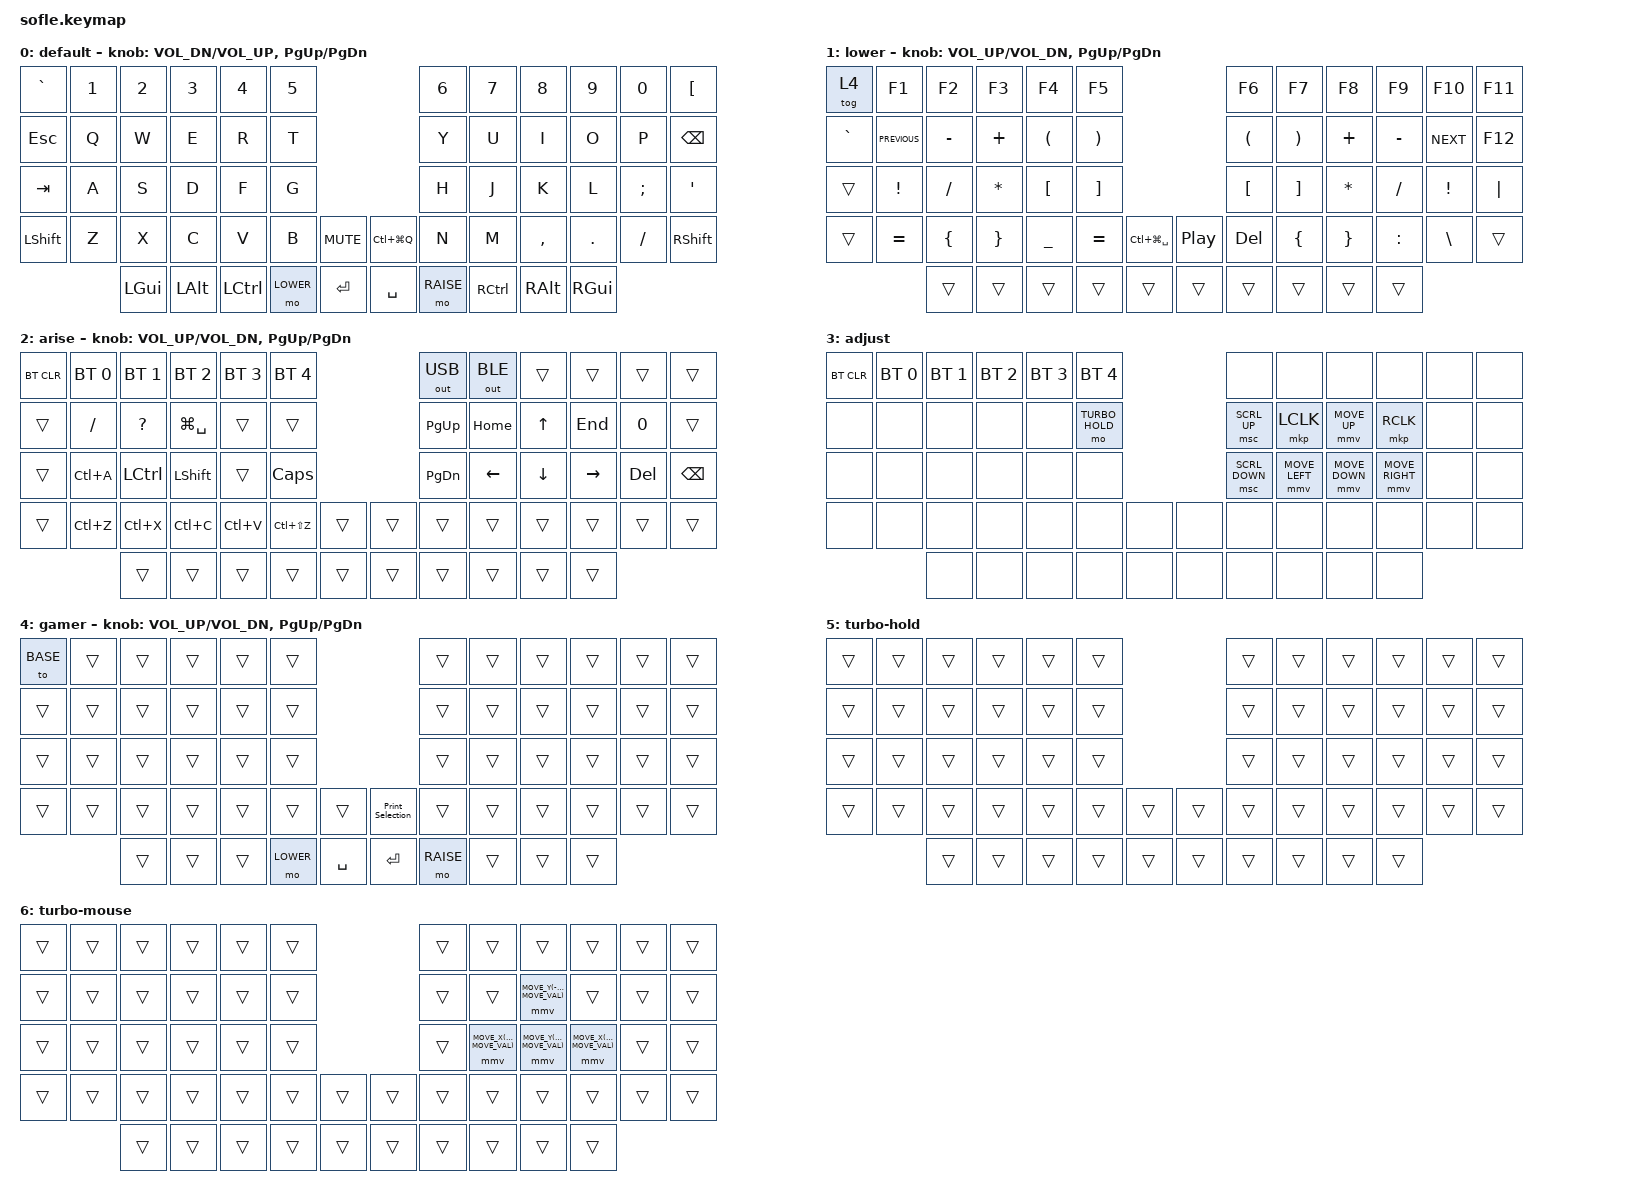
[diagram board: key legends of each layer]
/*
 * Copyright (c) 2020 The ZMK Contributors
 *
 * SPDX-License-Identifier: MIT
 */

#include <behaviors.dtsi>
#include <dt-bindings/zmk/bt.h>
#include <dt-bindings/zmk/keys.h>
#include <dt-bindings/zmk/outputs.h>

// Velocidade do mouse na camada ADJUST (padrão ZMK é 600) — aumentada para movimento mais ágil
#define ZMK_POINTING_DEFAULT_MOVE_VAL 1200
#include <dt-bindings/zmk/mouse.h>

#define BASE 0
#define LOWER 1
#define RAISE 2
#define ADJUST 3
#define GAMER 4
#define TURBO_HOLD 5
#define TURBO_MOUSE 6

// Velocidade turbo do mouse (segurar T dentro da ADJUST) — bem mais rápido que o padrão
#define TURBO_MOVE_VAL 3000

/ {
    macros {
        // Screenshot de seleção no Windows (Win+Shift+S - Ferramenta de Captura)

        Print_Selection: Print_Selection {
            compatible = "zmk,behavior-macro";
            #binding-cells = <0>;
            bindings = <&kp LG(LS(S))>;
            label = "PRINT_SELECTION";
        };

        // Acute_Accent removido - acento agudo real é LEFT_BRACKET em PT-BR
    };

    combos {
        compatible = "zmk,combos";

        // COMBO ORIGINAL: F + J = toggle gamer mode

        combo_gamer_toggle {
            timeout-ms = <50>;
            key-positions = <28 31>; // F + J positions (28=F, 31=J)
            bindings = <&tog 4>; // Toggle layer 4 (gamer)
            layers = <0>; // Só funciona na camada base
        };
    };

    // Activate ADJUST layer by pressing raise and lower

    conditional_layers {
        compatible = "zmk,conditional-layers";

        adjust_layer {
            if-layers = <LOWER RAISE>;
            then-layer = <ADJUST>;
        };

        // Segurar T dentro da ADJUST ativa velocidade turbo no I/J/K/L
        turbo_mouse_layer {
            if-layers = <LOWER RAISE TURBO_HOLD>;
            then-layer = <TURBO_MOUSE>;
        };
    };

    keymap {
        compatible = "zmk,keymap";

        default_layer {
            display-name = "default";

            // ------------------------------------------------------------------------------------------------------------
            // |   `   |  1  |  2  |  3   |  4   |  5   |                   |  6   |  7    |  8    |  9   |   0   |   [   |
            // |  ESC  |  Q  |  W  |  E   |  R   |  T   |                   |  Y   |  U    |  I    |  O   |   P   | BKSPC |
            // |  TAB  |  A  |  S  |  D   |  F   |  G   |                   |  H   |  J    |  K    |  L   |   ;   |   '   |
            // | SHIFT |  Z  |  X  |  C   |  V   |  B   |  MUTE  |  |       |  N   |  M    |  ,    |  .   |   /   | SHIFT |
            //               | GUI | ALT  | CTRL | LOWER|  ENTER |  | SPACE | RAISE| CTRL  | ALT   | GUI  |

            bindings = <
&kp GRAVE  &kp N1  &kp N2    &kp N3    &kp N4     &kp N5                                  &kp N6     &kp N7     &kp N8     &kp N9    &kp N0    &kp LEFT_BRACKET
&kp ESC    &kp Q   &kp W     &kp E     &kp R      &kp T                                   &kp Y      &kp U      &kp I      &kp O     &kp P     &kp BSPC
&kp TAB    &kp A   &kp S     &kp D     &kp F      &kp G                                   &kp H      &kp J      &kp K      &kp L     &kp SEMI  &kp SQT
&kp LSHFT  &kp Z   &kp X     &kp C     &kp V      &kp B      &kp C_MUTE    &kp LC(LG(Q))  &kp N      &kp M      &kp COMMA  &kp DOT   &kp FSLH  &kp RSHFT
                   &kp LGUI  &kp LALT  &kp LCTRL  &mo LOWER  &kp RET       &kp SPACE      &mo RAISE  &kp RCTRL  &kp RALT   &kp RGUI
            >;

            sensor-bindings =
                <&inc_dec_kp C_VOL_DN C_VOL_UP>,
                <&inc_dec_kp PG_UP PG_DN>;
        };

        lower_layer {
            display-name = "lower";

            // LAYER ORIGINAL RESTAURADA - Símbolos + Mídia + Gamer Toggle
            // ------------------------------------------------------------------------------------------------------------
            // |  GAMER|  F1 |  F2 |  F3  |  F4  |  F5  |                   |  F6  |  F7   |  F8   |  F9  |  F10  |  F11  |
            // |   `   | PREV|  -  |  +   |  (   |  )   |                   |  (   |   )   |   +   |  -   |  NEXT |  F12  |
            // |       |  !  |  /  |  *   |  [   |  ]   |                   |  [   |   ]   |   *   |  /   |   !   |   |   |
            // |       |  =  |  {  |  }   |  _   |  =   | EMOJI  |  | PLAY  | DEL  |   {   |   }   |  :   |   \   |       |
            //               |     |      |      |      |        |  |       |      |       |       |      |

            bindings = <
&tog 4     &kp F1          &kp F2          &kp F3           &kp F4                &kp F5                                                &kp F6                &kp F7                 &kp F8           &kp F9     &kp F10          &kp F11
&kp GRAVE  &kp C_PREVIOUS  &kp MINUS       &kp PLUS         &kp LEFT_PARENTHESIS  &kp RIGHT_PARENTHESIS                                 &kp LEFT_PARENTHESIS  &kp RIGHT_PARENTHESIS  &kp PLUS         &kp MINUS  &kp C_NEXT       &kp F12
&trans     &kp EXCL        &kp SLASH       &kp ASTERISK     &kp LEFT_BRACKET      &kp RIGHT_BRACKET                                     &kp LEFT_BRACKET      &kp RIGHT_BRACKET      &kp ASTRK        &kp SLASH  &kp EXCLAMATION  &kp PIPE
&trans     &kp EQUAL       &kp LEFT_BRACE  &kp RIGHT_BRACE  &kp UNDER             &kp EQUAL              &kp LC(LG(SPACE))  &kp C_PLAY_PAUSE  &kp DEL               &kp LEFT_BRACE         &kp RIGHT_BRACE  &kp COLON  &kp BSLH         &trans
                           &trans          &trans           &trans                &trans                 &trans       &trans            &trans                &trans                 &trans           &trans
            >;

            sensor-bindings = <&inc_dec_kp C_VOL_UP C_VOL_DN &inc_dec_kp PG_UP PG_DN>;
        };

        raise_layer {
            display-name = "arise";

            // LAYER ORIGINAL RESTAURADA - BT + Navegação + Clipboard + Seleção
            // ------------------------------------------------------------------------------------------------------------
            // | BTCLR | BT1  | BT2  |  BT3  |  BT4  |  BT5 |                | USB  | BLE  |       |      |       |       |
            // |       |  /   |  ?   | LANG  |       |      |                | PGUP | HOME |   ^   | END  |   0   |       |
            // |       |Ctrl+A| CTRL | SHIFT |       | CAPS |                | PGDN |   <- |   v   |  ->  |  DEL  | BKSPC |
            // |       |Ctrl+Z|Ctrl+X|Ctrl+C |Ctrl+V |Redo  |      |  |      |      |      |       |      |       |       |
            //                |      |       |       |      |      |  |      |      |      |       |      |

            bindings = <
&bt BT_CLR  &bt BT_SEL 0  &bt BT_SEL 1  &bt BT_SEL 2  &bt BT_SEL 3  &bt BT_SEL 4                    &out OUT_USB  &out OUT_BLE  &trans    &trans     &trans   &trans
&trans      &kp SLASH     &kp QMARK     &kp LG(SPACE) &trans        &trans                          &kp PG_UP  &kp HOME  &kp UP    &kp END    &kp N0   &trans
&trans      &kp LC(A)     &kp LCTRL     &kp LSHFT     &trans        &kp CLCK                        &kp PG_DN  &kp LEFT  &kp DOWN  &kp RIGHT  &kp DEL  &kp BSPC
&trans      &kp LC(Z)     &kp LC(X)     &kp LC(C)     &kp LC(V)     &kp LC(LS(Z)) &trans    &trans  &trans     &trans    &trans    &trans     &trans   &trans
                          &trans        &trans        &trans        &trans        &trans    &trans  &trans     &trans    &trans    &trans
            >;

            sensor-bindings = <&inc_dec_kp C_VOL_UP C_VOL_DN &inc_dec_kp PG_UP PG_DN>;
        };

        adjust_layer {
            // ----------------------------------------------------------------------------------------------------------------------------
            // | BTCLR  |  BT1  |  BT2  |  BT3  |  BT4  |  BT5  |                  |         |         |         |          |       |       |
            // |        |       |       |       |  TURBO|       |                  | SCR_UP  | LCLICK  | MOV_UP  | RCLICK   |       |       |
            // |        |       |       |       |       |       |                  | SCR_DN  |MOV_LEFT | MOV_DN  | MOV_RIGHT|       |       |
            // |        |       |       |       |       |       |         |  |     |         |         |         |          |       |       |
            //                  |       |       |       |       |         |  |     |         |         |         |          |

            display-name = "adjust";
            bindings = <
&bt BT_CLR  &bt BT_SEL 0  &bt BT_SEL 1  &bt BT_SEL 2  &bt BT_SEL 3  &bt BT_SEL 4                    &none          &none          &none         &none           &none  &none
&none       &none         &none         &none         &none         &mo TURBO_HOLD                 &msc SCRL_UP   &mkp LCLK      &mmv MOVE_UP  &mkp RCLK       &none  &none
&none       &none         &none         &none         &none         &none                          &msc SCRL_DOWN &mmv MOVE_LEFT &mmv MOVE_DOWN &mmv MOVE_RIGHT &none &none
&none       &none         &none         &none         &none         &none         &none      &none  &none          &none          &none         &none           &none  &none
                          &none         &none         &none         &none         &none      &none  &none          &none          &none         &none
            >;
        };

        gamer_layer {
            display-name = "gamer";

            // 🎮 CAMADA GAMER - Space e Enter TROCADOS + acesso às outras layers
            // F + J = volta para layer base OU liga/desliga gamer
            // ------------------------------------------------------------------------------------------------------------
            // |  BASE |  1  |  2  |  3   |  4   |  5   |                   |  6   |  7    |  8    |  9   |   0   |   [   |
            // |  ESC  |  Q  |  W  |  E   |  R   |  T   |                   |  Y   |  U    |  I    |  O   |   P   | BKSPC |
            // |  TAB  |  A  |  S  |  D   |  F   |  G   |                   |  H   |  J    |  K    |  L   |   ;   |   '   |
            // | SHIFT |  Z  |  X  |  C   |  V   |  B   |  MUTE  |  |LOCK   |  N   |  M    |  ,    |  .   |   /   | SHIFT |
            //               | GUI | ALT  | CTRL | LOWER| SPACE  | | ENTER | RAISE| CTRL  | ALT   | GUI  |
            //                                          ↑ SPACE e ENTER trocados! ↑
            // Demais teclas são &trans: com LOWER/RAISE seguradas, acessa F-keys, BT, setas etc. da BASE

            bindings = <
&to BASE   &trans  &trans    &trans    &trans     &trans                                     &trans     &trans     &trans     &trans    &trans    &trans
&trans     &trans  &trans    &trans    &trans     &trans                                     &trans     &trans     &trans     &trans    &trans    &trans
&trans     &trans  &trans    &trans    &trans     &trans                                     &trans     &trans     &trans     &trans    &trans    &trans
&trans     &trans  &trans    &trans    &trans     &trans     &trans        &Print_Selection  &trans     &trans     &trans     &trans    &trans    &trans
                   &trans    &trans    &trans     &mo LOWER  &kp SPACE     &kp RET           &mo RAISE  &trans     &trans     &trans
            >;

            sensor-bindings = <&inc_dec_kp C_VOL_UP C_VOL_DN &inc_dec_kp PG_UP PG_DN>;
        };

        turbo_hold_layer {
            // Camada auxiliar: existe só para servir de "gatilho" (segurar T na ADJUST) da
            // turbo_mouse_layer condicional abaixo. Não tem bindings próprios.
            display-name = "turbo-hold";

            bindings = <
&trans  &trans  &trans  &trans  &trans  &trans                    &trans  &trans  &trans  &trans  &trans  &trans
&trans  &trans  &trans  &trans  &trans  &trans                    &trans  &trans  &trans  &trans  &trans  &trans
&trans  &trans  &trans  &trans  &trans  &trans                    &trans  &trans  &trans  &trans  &trans  &trans
&trans  &trans  &trans  &trans  &trans  &trans  &trans     &trans  &trans  &trans  &trans  &trans  &trans  &trans
                &trans  &trans  &trans  &trans  &trans     &trans  &trans  &trans  &trans  &trans
            >;
        };

        turbo_mouse_layer {
            // Ativada quando LOWER+RAISE+T (turbo_hold) estão todos segurados.
            // Só sobrescreve I/J/K/L com velocidade turbo; resto cai (trans) pra ADJUST.
            display-name = "turbo-mouse";

            // ----------------------------------------------------------------------------------------------------
            // |        |       |       |       |       |       |                  |         |         |         |          |       |       |
            // |        |       |       |       |       |       |                  |         |         |TURBO_UP |          |       |       |
            // |        |       |       |       |       |       |                  |         |TURBO_LFT|TURBO_DN |TURBO_RGT |       |       |

            bindings = <
&trans  &trans  &trans  &trans  &trans  &trans                                       &trans  &trans                       &trans                      &trans                      &trans  &trans
&trans  &trans  &trans  &trans  &trans  &trans                                       &trans  &trans                       &mmv MOVE_Y(-TURBO_MOVE_VAL) &trans                      &trans  &trans
&trans  &trans  &trans  &trans  &trans  &trans                                       &trans  &mmv MOVE_X(-TURBO_MOVE_VAL) &mmv MOVE_Y(TURBO_MOVE_VAL)  &mmv MOVE_X(TURBO_MOVE_VAL) &trans  &trans
&trans  &trans  &trans  &trans  &trans  &trans  &trans     &trans                    &trans  &trans                       &trans                      &trans                      &trans  &trans
                &trans  &trans  &trans  &trans  &trans     &trans                    &trans  &trans                       &trans                      &trans
            >;
        };
    };
};

// Rampa até velocidade máxima mais curta (padrão ZMK é 300ms) — resposta mais ágil
&mmv {
    time-to-max-speed-ms = <150>;
};
